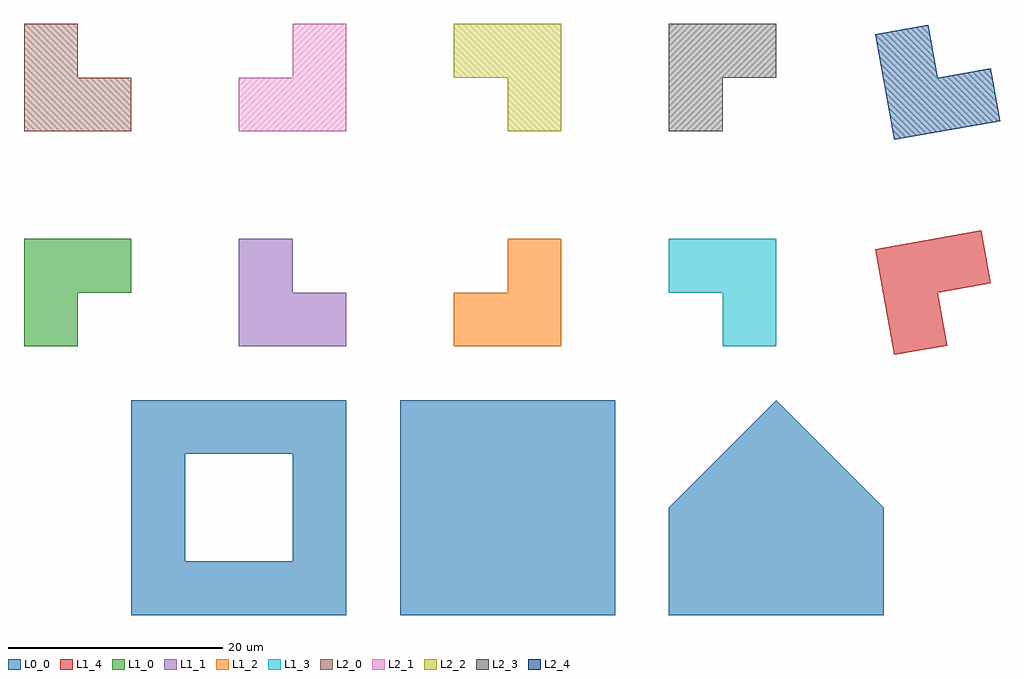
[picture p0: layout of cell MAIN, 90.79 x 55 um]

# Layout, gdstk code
from math import pi, radians
import gdstk
lib = gdstk.Library(unit=1e-6, precision=1e-09)
def R(c, l, rs):  # rectangles x0, y0, x1, y1
    for r in rs: c.add(gdstk.rectangle(r[:2], r[2:], *l))
def P(c, l, *ps):  # polygons
    for p in ps: c.add(gdstk.Polygon(p, *l))
L0_0 = (0, 0)
L1_0 = (1, 0)
L1_1 = (1, 1)
L1_2 = (1, 2)
L1_3 = (1, 3)
L1_4 = (1, 4)
L2_0 = (2, 0)
L2_1 = (2, 1)
L2_2 = (2, 2)
L2_3 = (2, 3)
L2_4 = (2, 4)

window = lib.new_cell('WINDOW')
P(window, L0_0, [(-5,-5),(-10,-10),(-10,10),(10,10),(10,-10),(-10,-10),(-5,-5),(5,-5),(5,5),(-5,5),(-5,-5)])

rect = lib.new_cell('RECT')
R(rect, L0_0, [(-10,-10,10,10)])

home = lib.new_cell('HOME')
P(home, L0_0, [(-10,-10),(-10,0),(0,10),(10,0),(10,-10)])

corner_10 = lib.new_cell('CORNER_10')
P(corner_10, L1_0, [(-5,-5),(-5,5),(5,5),(5,0),(0,0),(0,-5)])

corner_11 = lib.new_cell('CORNER_11')
P(corner_11, L1_1, [(-5,-5),(-5,5),(5,5),(5,0),(0,0),(0,-5)])

corner_12 = lib.new_cell('CORNER_12')
P(corner_12, L1_2, [(-5,-5),(-5,5),(5,5),(5,0),(0,0),(0,-5)])

corner_13 = lib.new_cell('CORNER_13')
P(corner_13, L1_3, [(-5,-5),(-5,5),(5,5),(5,0),(0,0),(0,-5)])

corner_14 = lib.new_cell('CORNER_14')
P(corner_14, L1_4, [(-5,-5),(-5,5),(5,5),(5,0),(0,0),(0,-5)])

corner_20 = lib.new_cell('CORNER_20')
P(corner_20, L2_0, [(-5,-5),(-5,5),(5,5),(5,0),(0,0),(0,-5)])

corner_21 = lib.new_cell('CORNER_21')
P(corner_21, L2_1, [(-5,-5),(-5,5),(5,5),(5,0),(0,0),(0,-5)])

corner_22 = lib.new_cell('CORNER_22')
P(corner_22, L2_2, [(-5,-5),(-5,5),(5,5),(5,0),(0,0),(0,-5)])

corner_23 = lib.new_cell('CORNER_23')
P(corner_23, L2_3, [(-5,-5),(-5,5),(5,5),(5,0),(0,0),(0,-5)])

corner_24 = lib.new_cell('CORNER_24')
P(corner_24, L2_4, [(-5,-5),(-5,5),(5,5),(5,0),(0,0),(0,-5)])

main = lib.new_cell('MAIN')
main.add(gdstk.Reference(window, (25,20)))
main.add(gdstk.Reference(rect, (50,20)))
main.add(gdstk.Reference(home, (75,20)))
main.add(gdstk.Reference(corner_10, (10,40)))
main.add(gdstk.Reference(corner_11, (30,40), rotation=pi/2))
main.add(gdstk.Reference(corner_12, (50,40), rotation=pi))
main.add(gdstk.Reference(corner_13, (70,40), rotation=3*pi/2))
main.add(gdstk.Reference(corner_14, (90,40), rotation=radians(10)))
main.add(gdstk.Reference(corner_20, (10,60), x_reflection=True))
main.add(gdstk.Reference(corner_21, (30,60), rotation=pi/2, x_reflection=True))
main.add(gdstk.Reference(corner_22, (50,60), rotation=pi, x_reflection=True))
main.add(gdstk.Reference(corner_23, (70,60), rotation=3*pi/2, x_reflection=True))
main.add(gdstk.Reference(corner_24, (90,60), rotation=radians(10), x_reflection=True))

lib.write_gds('MAIN.gds')
